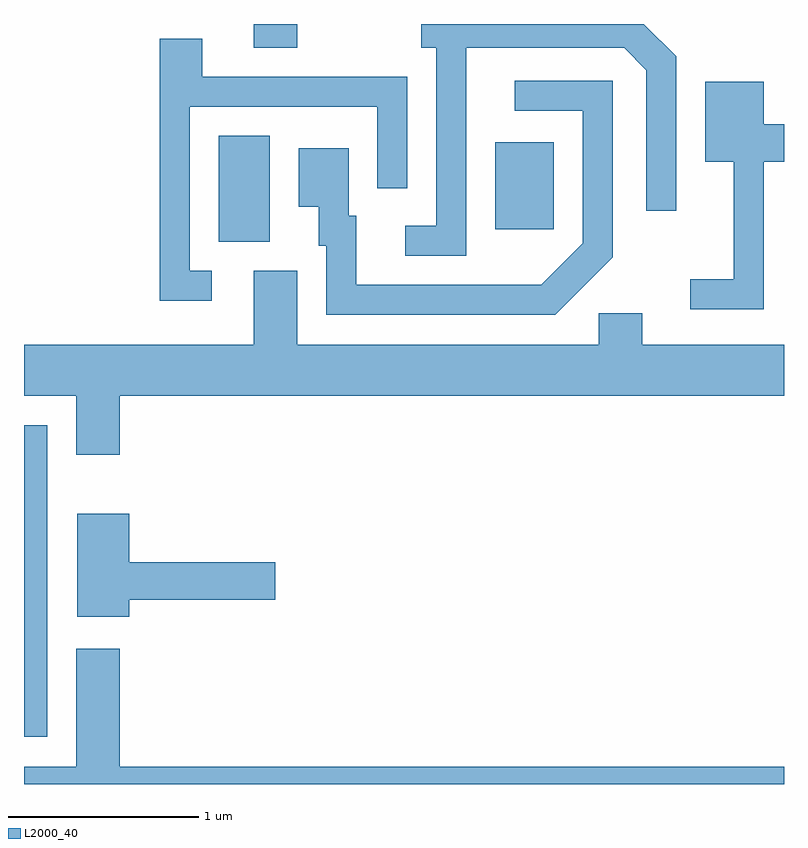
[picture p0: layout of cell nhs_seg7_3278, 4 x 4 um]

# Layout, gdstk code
import gdstk
lib = gdstk.Library(unit=1e-6, precision=1e-09)
def R(c, l, rs):  # rectangles x0, y0, x1, y1
    for r in rs: c.add(gdstk.rectangle(r[:2], r[2:], *l))
def P(c, l, *ps):  # polygons
    for p in ps: c.add(gdstk.Polygon(p, *l))
L2000_40 = (2000, 40)

nhs_seg7_3278 = lib.new_cell('nhs_seg7_3278')
R(nhs_seg7_3278, L2000_40, [(285.611,1732.501,285.734,1734.139), (286.636,1735.106,286.904,1735.664), (288.091,1735.171,288.399,1735.629), (286.821,1736.126,287.049,1736.252)])
P(nhs_seg7_3278, L2000_40, [(287.939,1736.126),(288.769,1736.126),(288.886,1736.009),(288.886,1735.268),(289.044,1735.268),(289.044,1736.082),(288.874,1736.252),(287.703,1736.252),(287.703,1736.126),(287.781,1736.126),(287.781,1735.189),(287.618,1735.189),(287.618,1735.031),(287.939,1735.031)],
  [(286.598,1734.954),(286.484,1734.954),(286.484,1735.816),(287.471,1735.816),(287.471,1735.388),(287.629,1735.388),(287.629,1735.974),(286.549,1735.974),(286.549,1736.174),(286.326,1736.174),(286.326,1734.796),(286.598,1734.796)],
  [(288.709,1735.024),(288.709,1735.954),(288.193,1735.954),(288.193,1735.796),(288.551,1735.796),(288.551,1735.097),(288.334,1734.879),(287.359,1734.879),(287.359,1735.244),(287.319,1735.244),(287.319,1735.599),(287.056,1735.599),(287.056,1735.291),(287.161,1735.291),(287.161,1735.086),(287.201,1735.086),(287.201,1734.721),(288.407,1734.721)],
  [(289.504,1735.526),(289.611,1735.526),(289.611,1735.724),(289.504,1735.724),(289.504,1735.949),(289.196,1735.949),(289.196,1735.526),(289.346,1735.526),(289.346,1734.909),(289.118,1734.909),(289.118,1734.751),(289.504,1734.751)],
  [(286.114,1734.296),(289.611,1734.296),(289.611,1734.564),(288.864,1734.564),(288.864,1734.729),(288.636,1734.729),(288.636,1734.564),(287.049,1734.564),(287.049,1734.954),(286.821,1734.954),(286.821,1734.564),(285.611,1734.564),(285.611,1734.296),(285.886,1734.296),(285.886,1733.986),(286.114,1733.986)],
  [(286.164,1733.221),(286.934,1733.221),(286.934,1733.419),(286.164,1733.419),(286.164,1733.674),(285.891,1733.674),(285.891,1733.131),(286.164,1733.131)],
  [(289.611,1732.344),(286.114,1732.344),(286.114,1732.964),(285.886,1732.964),(285.886,1732.344),(285.611,1732.344),(285.611,1732.252),(289.611,1732.252)])

lib.write_gds('nhs_seg7_3278.gds')
